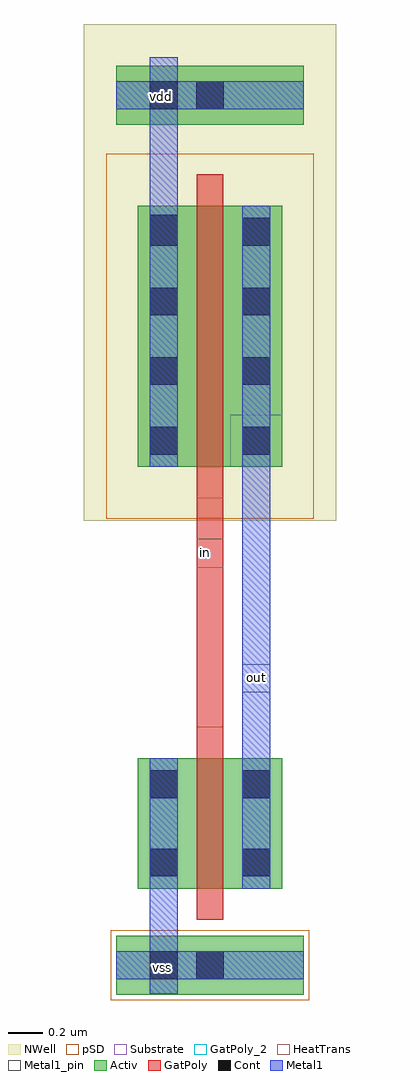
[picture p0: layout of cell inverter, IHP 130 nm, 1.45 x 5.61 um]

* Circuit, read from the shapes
.subckt inverter in out vdd vss
XM1 out in vss vss sg13_lv_nmos w=0.75u l=0.15u
XM2 out in vdd vdd sg13_lv_pmos w=1.5u l=0.15u
.ends

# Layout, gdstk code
import gdstk
lib = gdstk.Library(unit=1e-6, precision=5e-09)
def R(c, l, rs):  # rectangles x0, y0, x1, y1
    for r in rs: c.add(gdstk.rectangle(r[:2], r[2:], *l))
def A(c, l, x, y, w, h, nx, ny, dx, dy):  # array of equal rectangles
    R(c, l, [(x+i*dx, y+j*dy, x+i*dx+w, y+j*dy+h) for i in range(nx) for j in range(ny)])
Activ = (1, 0)
GatPoly = (5, 0)
GatPoly_2 = (5, 2)
Cont = (6, 0)
Metal1 = (8, 0)
Metal1_pin = (8, 2)
pSD = (14, 0)
NWell = (31, 0)
Substrate = (40, 0)
HeatTrans = (51, 0)

pmos_1 = lib.new_cell('pmos$1')
R(pmos_1, Activ, [(0,0,0.3,0.3), (0,0,0.83,1.5), (0.53,0,0.83,0.3)])
R(pmos_1, GatPoly, [(0.34,-0.18,0.49,1.68), (0.34,-0.18,0.49,1.68)])
A(pmos_1, Cont, 0.07, 0.07, 0.16, 0.16, 1, 4, 0, 0.4)
A(pmos_1, Cont, 0.6, 0.07, 0.16, 0.16, 1, 4, 0, 0.4)
R(pmos_1, Metal1, [(0.07,0,0.23,1.5), (0.07,0,0.23,1.5), (0.6,0,0.76,1.5), (0.6,0,0.76,1.5)])
R(pmos_1, pSD, [(-0.18,-0.3,1.01,1.8)])
R(pmos_1, NWell, [(-0.31,-0.31,1.14,1.81)])
R(pmos_1, Substrate, [(0.53,0,0.83,0.3)])
R(pmos_1, HeatTrans, [(0.34,-0.18,0.49,1.68)])
pmos_1.add(gdstk.Label('pmos', (0.415,0.75), layer=63, texttype=0))
pmos_1.add(gdstk.Label('pmos', (0.415,0.75), layer=51, texttype=0))

m1_cont1_pmos = lib.new_cell('M1_Cont1_PMOS')
R(m1_cont1_pmos, Activ, [(-0.535,-0.175,0.545,0.165)])
R(m1_cont1_pmos, Cont, [(-0.075,-0.085,0.085,0.075)])
R(m1_cont1_pmos, Metal1, [(-0.535,-0.085,0.545,0.075)])
R(m1_cont1_pmos, Metal1_pin, [(-0.535,-0.085,0.545,0.075)])
R(m1_cont1_pmos, NWell, [(-0.72,-0.415,0.73,0.405)])

m1_bulkcont1_pmos = lib.new_cell('M1_BulkCont1_PMOS')
r = gdstk.Reference(m1_cont1_pmos, (-0.015,-0.015)); r.repetition = gdstk.Repetition(1, 1, v1=(0,0), v2=(0,0)); m1_bulkcont1_pmos.add(r)

m1_cont1_nmos = lib.new_cell('M1_Cont1_NMOS')
R(m1_cont1_nmos, Activ, [(-0.53,-0.175,0.55,0.165)])
R(m1_cont1_nmos, Cont, [(-0.07,-0.085,0.09,0.075)])
R(m1_cont1_nmos, Metal1, [(-0.53,-0.085,0.55,0.075)])
R(m1_cont1_nmos, Metal1_pin, [(-0.53,-0.085,0.55,0.075)])
R(m1_cont1_nmos, pSD, [(-0.56,-0.205,0.58,0.195)])

m1_bulkcont1_nmos = lib.new_cell('M1_BulkCont1_NMOS')
r = gdstk.Reference(m1_cont1_nmos, (0.005,0.01)); r.repetition = gdstk.Repetition(1, 1, v1=(0,0), v2=(0,0)); m1_bulkcont1_nmos.add(r)

nmos = lib.new_cell('nmos')
R(nmos, Activ, [(0,0,0.3,0.3), (0,0,0.83,0.75), (0.53,0,0.83,0.3)])
R(nmos, GatPoly, [(0.34,-0.18,0.49,0.93)])
R(nmos, GatPoly_2, [(0.34,-0.18,0.49,0.93)])
R(nmos, Cont, [(0.07,0.07,0.23,0.23), (0.6,0.07,0.76,0.23), (0.07,0.52,0.23,0.68), (0.6,0.52,0.76,0.68)])
R(nmos, Metal1, [(0.07,0,0.23,0.75), (0.6,0,0.76,0.75)])
R(nmos, Metal1_pin, [(0.07,0,0.23,0.75), (0.6,0,0.76,0.75)])
R(nmos, HeatTrans, [(0.34,-0.18,0.49,0.93)])
nmos.add(gdstk.Label('nmos', (0.415,0.375), layer=63, texttype=0))
nmos.add(gdstk.Label('nmos', (0.415,0.375), layer=51, texttype=0))

inverter = lib.new_cell('inverter')
R(inverter, GatPoly, [(1.89,-0.655,2.04,1.34)])
R(inverter, GatPoly_2, [(1.89,0.44,2.04,0.605)])
R(inverter, Cont, [(1.62,-1.925,1.78,-1.765), (1.62,2.31,1.78,2.47), (1.62,3.075,1.78,3.235)])
R(inverter, Metal1, [(1.62,-2.01,1.78,-1.065), (2.15,-0.885,2.31,1.27), (1.62,2.13,1.78,3.375)])
R(inverter, Metal1_pin, [(1.62,-1.925,1.78,-1.765), (2.15,-0.275,2.31,-0.115), (1.62,3.075,1.78,3.235)])
inverter.add(gdstk.Reference(pmos_1, (1.55,1.02)))
inverter.add(gdstk.Reference(m1_bulkcont1_pmos, (1.975,3.175)))
inverter.add(gdstk.Reference(m1_bulkcont1_nmos, (1.95,-1.85)))
inverter.add(gdstk.Reference(nmos, (1.55,-1.405)))
inverter.add(gdstk.Label('vdd', (1.685,3.15), layer=8, texttype=2))
inverter.add(gdstk.Label('vss', (1.69,-1.86), layer=8, texttype=2))
inverter.add(gdstk.Label('out', (2.235,-0.19), layer=8, texttype=2))
inverter.add(gdstk.Label('in', (1.94,0.525), layer=5, texttype=2))

lib.write_gds('inverter.gds')
